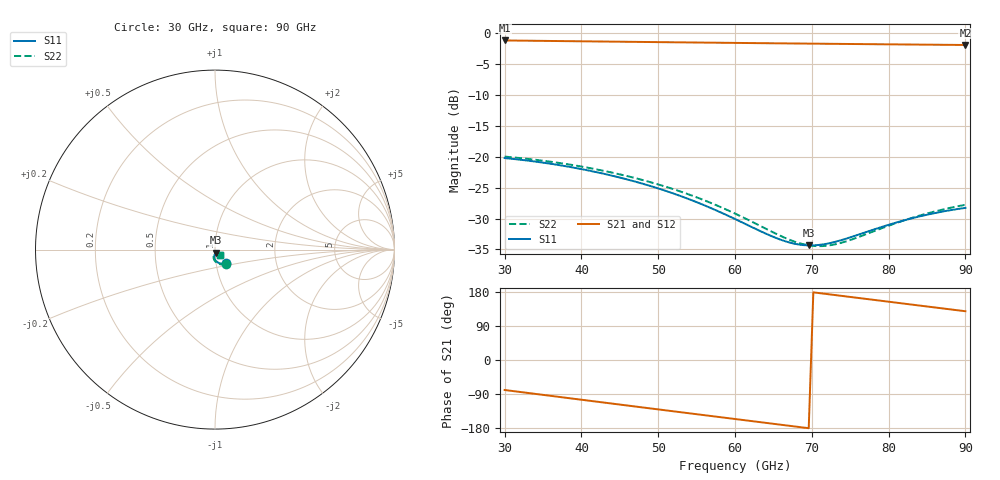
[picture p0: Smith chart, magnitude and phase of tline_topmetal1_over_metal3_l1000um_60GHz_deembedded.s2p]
! Created with skrf 2.2.0 (http://scikit-rf.org).
# GHz S DB R 50.0
! Port[1] = P1
! Port[2] = P2
!freq dBS11 angS11 dBS21 angS21 dBS12 angS12 dBS22 angS22
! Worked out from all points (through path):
!   101 points, 30 GHz to 90 GHz, reference 50 ohm
!   highest |S21| = -1.19 dB at 30 GHz (marker M1); lowest = -1.9 dB at 90 GHz (marker M2)
!   group delay of S21, straight-line fit = 7.04 ps
!   lowest |S11| = -34.3 dB at 69.6 GHz (marker M3), VSWR 1.04, Z = 50.7 - j1.79 ohm
!   |S11| at or under -10 dB: start of sweep to end of sweep
!   |S22| runs from -34.5 to -20.0 dB; largest |S21 - S12| = 1.4e-12
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30  -20.21 -50.8  -1.19 -79.1  -1.19 -79.1  -19.98 -51.8
32.4  -20.53 -56.1  -1.22 -85.3  -1.22 -85.3  -20.26 -57.2
34.8  -20.92 -61.2  -1.25 -91.5  -1.25 -91.5  -20.61 -62.5
37.2  -21.37 -66.3  -1.29 -97.7  -1.29 -97.7  -21.02 -67.8
40.2  -22.04 -72.4  -1.33 -105.3  -1.33 -105.3  -21.63 -74.2
42.6  -22.66 -77.1  -1.36 -111.5  -1.36 -111.5  -22.20 -79.1
45  -23.37 -81.6  -1.39 -117.6  -1.39 -117.6  -22.85 -83.8
47.4  -24.16 -85.7  -1.42 -123.7  -1.42 -123.7  -23.58 -88.3
50.4  -25.28 -90.3  -1.46 -131.4  -1.46 -131.4  -24.63 -93.4
55.2  -27.44 -95.4  -1.52 -143.5  -1.52 -143.5  -26.65 -99.8
60  -30.07 -95.8  -1.58 -155.7  -1.58 -155.7  -29.19 -102.2
63  -31.85 -91.8  -1.62 -163.3  -1.62 -163.3  -31.01 -100.2
66  -33.44 -82.9  -1.66 -170.9  -1.66 -170.9  -32.84 -93.4
67.8  -34.08 -75.3  -1.68 -175.4  -1.68 -175.4  -33.75 -86.6
69.6  -34.34 -66.9  -1.70 -180.0  -1.70 -180.0  -34.33 -78.0
70.2  -34.33 -64.0  -1.71 178.5  -1.71 178.5  -34.42 -74.9
72  -34.06 -56.2  -1.73 174.0  -1.73 174.0  -34.39 -65.7
73.8  -33.50 -50.0  -1.75 169.4  -1.75 169.4  -33.93 -57.6
76.8  -32.30 -43.5  -1.78 161.9  -1.78 161.9  -32.66 -48.6
80.4  -30.86 -41.0  -1.82 152.8  -1.82 152.8  -30.98 -44.4
85.2  -29.32 -43.0  -1.87 140.7  -1.87 140.7  -29.11 -45.5
90  -28.27 -48.1  -1.92 128.7  -1.92 128.7  -27.77 -50.5
